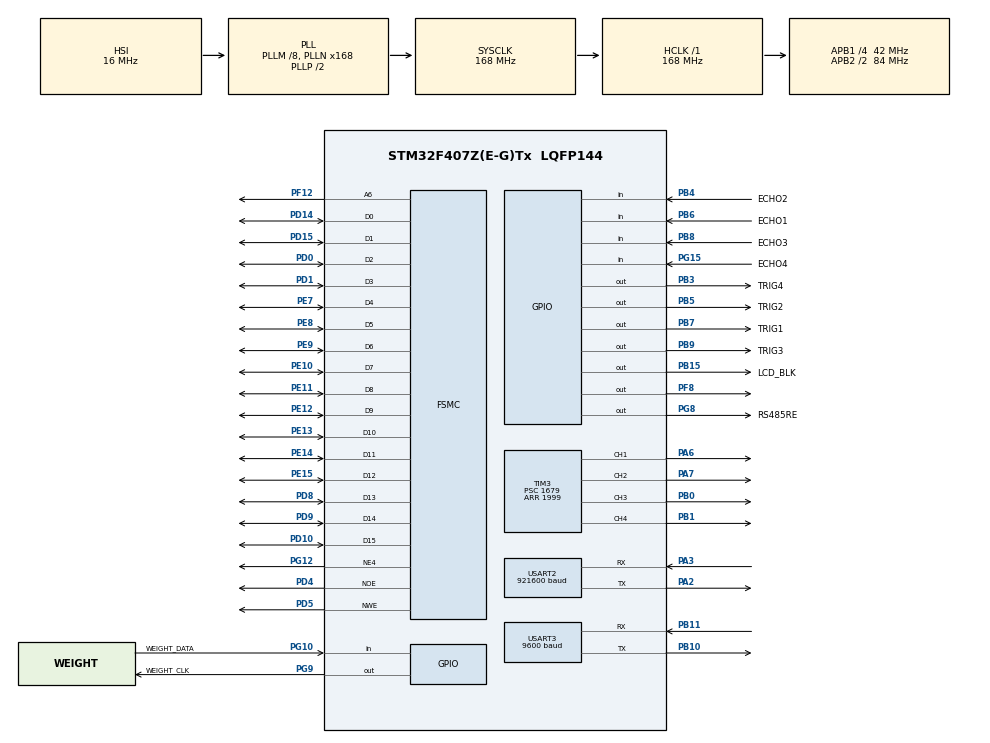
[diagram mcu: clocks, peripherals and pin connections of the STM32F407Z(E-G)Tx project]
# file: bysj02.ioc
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FREERTOS.Tasks01=defaultTask,8,128,StartDefaultTask,Default,NULL,Dynamic,NULL,NULL;lvglT,11,6144,StartlvglTask,As weak,NULL,Static,lvglBuffer,lvglControlBlock;floorRunT,45,512,StartFloorRunTask,As weak,NULL,Dynamic,NULL,NULL;distanceT,48,1024,StartDistanceTask,As weak,NULL,Dynamic,NULL,NULL;updatelvglT,9,1024,StartUpdatelvglTask,As weak,NULL,Dynamic,NULL,NULL;armRunT,13,512,StartArmRunTask,As weak,NULL,Dynamic,NULL,NULL;weight,12,128,GetWeightTask,As weak,NULL,Dynamic,NULL,NULL
FREERTOS.Timers01=floorRunTimer,floorRunTimerCallback,osTimerOnce,As weak,NULL,Dynamic,NULL;floorTimer,floorTimerCallback,osTimerPeriodic,As weak,NULL,Dynamic,NULL
FREERTOS.configENABLE_FPU=1
FREERTOS.configTOTAL_HEAP_SIZE=40960
FREERTOS.configUSE_NEWLIB_REENTRANT=1
FREERTOS.configUSE_PREEMPTION=1
FREERTOS.configUSE_TICK_HOOK=1
FSMC.AddressSetupTime1=0x0f
FSMC.BusTurnAroundDuration1=0
FSMC.DataSetupTime1=60
FSMC.ExtendedAddressSetupTime1=9
FSMC.ExtendedBusTurnAroundDuration1=0
FSMC.ExtendedDataSetupTime1=9
FSMC.ExtendedMode1=FSMC_EXTENDED_MODE_ENABLE
Mcu.Family=STM32F4
Mcu.Name=STM32F407Z(E-G)Tx
Mcu.Package=LQFP144
NVIC.PriorityGroup=NVIC_PRIORITYGROUP_4
NVIC.TIM1_BRK_TIM9_IRQn=true\:5\:0\:false\:false\:true\:true\:true\:true\:true
NVIC.TIM8_TRG_COM_TIM14_IRQn=true\:15\:0\:false\:false\:true\:false\:false\:true\:true
NVIC.TimeBase=TIM8_TRG_COM_TIM14_IRQn
NVIC.TimeBaseIP=TIM14
NVIC.USART2_IRQn=true\:5\:0\:false\:false\:true\:true\:true\:true\:true
NVIC.USART3_IRQn=true\:5\:0\:true\:false\:true\:true\:true\:true\:true
PA13.Mode=Serial_Wire
PA13.Signal=SYS_JTMS-SWDIO
PA14.Mode=Serial_Wire
PA14.Signal=SYS_JTCK-SWCLK
PA2.Mode=Asynchronous
PA2.Signal=USART2_TX
PA3.Mode=Asynchronous
PA3.Signal=USART2_RX
PA6.Signal=S_TIM3_CH1
PA7.Signal=S_TIM3_CH2
PB0.Signal=S_TIM3_CH3
PB1.Signal=S_TIM3_CH4
PB10.Mode=Asynchronous
PB10.Signal=USART3_TX
PB11.Mode=Asynchronous
PB11.Signal=USART3_RX
PB15.GPIO_Label=LCD_BLK
PB15.GPIO_PuPd=GPIO_PULLDOWN
PB15.Signal=GPIO_Output
PB3.GPIO_Label=TRIG4
PB3.Signal=GPIO_Output
PB4.GPIO_Label=ECHO2
PB4.Signal=GPIO_Input
PB5.GPIO_Label=TRIG2
PB5.Signal=GPIO_Output
PB6.GPIO_Label=ECHO1
PB6.GPIO_PuPd=GPIO_NOPULL
PB6.Signal=GPIO_Input
PB7.GPIO_Label=TRIG1
PB7.GPIO_PuPd=GPIO_NOPULL
PB7.PinState=GPIO_PIN_RESET
PB7.Signal=GPIO_Output
PB8.GPIO_Label=ECHO3
PB8.Signal=GPIO_Input
PB9.GPIO_Label=TRIG3
PB9.Signal=GPIO_Output
PC14-OSC32_IN.Mode=LSE-External-Oscillator
PC14-OSC32_IN.Signal=RCC_OSC32_IN
PC15-OSC32_OUT.Mode=LSE-External-Oscillator
PC15-OSC32_OUT.Signal=RCC_OSC32_OUT
PD0.Signal=FSMC_D2_DA2
PD1.Signal=FSMC_D3_DA3
PD10.Signal=FSMC_D15_DA15
PD14.Signal=FSMC_D0_DA0
PD15.Signal=FSMC_D1_DA1
PD4.Signal=FSMC_NOE
PD5.Signal=FSMC_NWE
PD8.Signal=FSMC_D13_DA13
PD9.Signal=FSMC_D14_DA14
PE10.Signal=FSMC_D7_DA7
PE11.Signal=FSMC_D8_DA8
PE12.Signal=FSMC_D9_DA9
PE13.Signal=FSMC_D10_DA10
PE14.Signal=FSMC_D11_DA11
PE15.Signal=FSMC_D12_DA12
PE7.Signal=FSMC_D4_DA4
PE8.Signal=FSMC_D5_DA5
PE9.Signal=FSMC_D6_DA6
PF12.Signal=FSMC_A6
PF8.Signal=GPIO_Output
PG10.GPIO_Label=WEIGHT_DATA
PG10.GPIO_PuPd=GPIO_PULLUP
PG10.Signal=GPIO_Input
PG12.Mode=NorPsramChipSelect4_1
PG12.Signal=FSMC_NE4
PG15.GPIO_Label=ECHO4
PG15.Signal=GPIO_Input
PG8.GPIO_Label=RS485RE
PG8.Signal=GPIO_Output
PG9.GPIO_Label=WEIGHT_CLK
PG9.GPIO_Speed=GPIO_SPEED_FREQ_HIGH
PG9.PinState=GPIO_PIN_SET
PG9.Signal=GPIO_Output
PH0-OSC_IN.Mode=HSE-External-Oscillator
PH0-OSC_IN.Signal=RCC_OSC_IN
PH1-OSC_OUT.Mode=HSE-External-Oscillator
PH1-OSC_OUT.Signal=RCC_OSC_OUT
ProjectManager.HeapSize=0x200
ProjectManager.StackSize=0x400
ProjectManager.TargetToolchain=STM32CubeIDE
RCC.48MHZClocksFreq_Value=84000000
RCC.AHBFreq_Value=168000000
RCC.APB1CLKDivider=RCC_HCLK_DIV4
RCC.APB1Freq_Value=42000000
RCC.APB1TimFreq_Value=84000000
RCC.APB2CLKDivider=RCC_HCLK_DIV2
RCC.APB2Freq_Value=84000000
RCC.APB2TimFreq_Value=168000000
RCC.CortexFreq_Value=168000000
RCC.HCLKFreq_Value=168000000
RCC.HSE_VALUE=8000000
RCC.HSI_VALUE=16000000
RCC.PLLM=8
RCC.PLLN=168
RCC.SYSCLKFreq_VALUE=168000000
RCC.SYSCLKSource=RCC_SYSCLKSOURCE_PLLCLK
RCC.VCOOutputFreq_Value=336000000
SH.FSMC_A6.0=FSMC_A6,A6_1
SH.FSMC_D0_DA0.0=FSMC_D0,16b-d1
SH.FSMC_D10_DA10.0=FSMC_D10,16b-d1
SH.FSMC_D11_DA11.0=FSMC_D11,16b-d1
SH.FSMC_D12_DA12.0=FSMC_D12,16b-d1
SH.FSMC_D13_DA13.0=FSMC_D13,16b-d1
SH.FSMC_D14_DA14.0=FSMC_D14,16b-d1
SH.FSMC_D15_DA15.0=FSMC_D15,16b-d1
SH.FSMC_D1_DA1.0=FSMC_D1,16b-d1
SH.FSMC_D2_DA2.0=FSMC_D2,16b-d1
SH.FSMC_D3_DA3.0=FSMC_D3,16b-d1
SH.FSMC_D4_DA4.0=FSMC_D4,16b-d1
SH.FSMC_D5_DA5.0=FSMC_D5,16b-d1
SH.FSMC_D6_DA6.0=FSMC_D6,16b-d1
SH.FSMC_D7_DA7.0=FSMC_D7,16b-d1
SH.FSMC_D8_DA8.0=FSMC_D8,16b-d1
SH.FSMC_D9_DA9.0=FSMC_D9,16b-d1
SH.FSMC_NOE.0=FSMC_NOE,Lcd1
SH.FSMC_NWE.0=FSMC_NWE,Lcd1
SH.S_TIM3_CH1.0=TIM3_CH1,PWM Generation1 CH1
SH.S_TIM3_CH2.0=TIM3_CH2,PWM Generation2 CH2
SH.S_TIM3_CH3.0=TIM3_CH3,PWM Generation3 CH3
SH.S_TIM3_CH4.0=TIM3_CH4,PWM Generation4 CH4
TIM3.AutoReloadPreload=TIM_AUTORELOAD_PRELOAD_ENABLE
TIM3.Channel-PWM\ Generation1\ CH1=TIM_CHANNEL_1
TIM3.Channel-PWM\ Generation2\ CH2=TIM_CHANNEL_2
TIM3.Channel-PWM\ Generation3\ CH3=TIM_CHANNEL_3
TIM3.Channel-PWM\ Generation4\ CH4=TIM_CHANNEL_4
TIM3.Period=1999
TIM3.Prescaler=1679
TIM3.Pulse-PWM\ Generation1\ CH1=0
TIM3.Pulse-PWM\ Generation2\ CH2=0
TIM3.Pulse-PWM\ Generation3\ CH3=0
TIM3.Pulse-PWM\ Generation4\ CH4=0
TIM9.Prescaler=167
USART2.BaudRate=921600
USART2.Mode=MODE_TX_RX
USART2.VirtualMode=VM_ASYNC
USART2.WordLength=WORDLENGTH_8B
USART3.BaudRate=9600
USART3.Mode=MODE_TX_RX
USART3.VirtualMode=VM_ASYNC
VP_FREERTOS_VS_CMSIS_V2.Mode=CMSIS_V2
VP_SYS_VS_tim14.Mode=TIM14
VP_TIM3_VS_ClockSourceINT.Mode=Internal
VP_TIM9_VS_ClockSourceINT.Mode=Internal
board=custom

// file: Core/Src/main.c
/* USER CODE BEGIN Header */
/**
  ******************************************************************************
  * @file           : main.c
  * @brief          : Main program body
  ******************************************************************************
  * @attention
  *
  * Copyright (c) 2024 STMicroelectronics.
  * All rights reserved.
  *
  * This software is licensed under terms that can be found in the LICENSE file
  * in the root directory of this software component.
  * If no LICENSE file comes with this software, it is provided AS-IS.
  *
  ******************************************************************************
  */
/* USER CODE END Header */
#include "main.h"
#include "cmsis_os.h"
#include "tim.h"
#include "usart.h"
#include "gpio.h"
#include "fsmc.h"

/* USER CODE BEGIN Includes */
#include "motor_run.h"
#include "lvgl.h"
#include "porting/lv_port_disp.h"
#include "ui.h"
#include "heiytTask.h"
#include "arm_active.h"
/* USER CODE END Includes */

/* USER CODE BEGIN PV */
#define RECEIVE_SIZE 8
uint8_t receive_buff[RECEIVE_SIZE];
int16_t arm_x_buff = 45, arm_y_buff = 45, arm_z_buff = 80;
/* USER CODE END PV */

void SystemClock_Config(void);
void MX_FREERTOS_Init(void);

/* USER CODE BEGIN 0 */
void HAL_UART_RxCpltCallback(UART_HandleTypeDef *huart) {
    if (huart == &huart3) {
        if (receive_buff[0] == 0x01) {
            Wx = (int16_t)(receive_buff[1]<<8 | receive_buff[2]);
            Wy = (int16_t)(receive_buff[3]<<8 | receive_buff[4]);
            run = 1;
        }
        if (receive_buff[0] == 0x02) {
            angle = (int16_t)(receive_buff[1]<<8 | receive_buff[2]);
            speed_A = (int16_t)(receive_buff[3]<<8 | receive_buff[4]);
            run = 2;
        }
        if (receive_buff[0] == 0x03) {
            fx = receive_buff[2];
            speed_M = (int16_t) (receive_buff[3] << 8 | receive_buff[4]);
            run = 3;
        }
        if (receive_buff[0] == 0x04) {
            run = 4;
        }
        if (receive_buff[0] == 0x05) {
            run = 4;
            if (receive_buff[1] == 0) {
                arm_x_buff = arm_x_buff + (int16_t)receive_buff[2];
            }
            if (receive_buff[1] == 1) {
                arm_x_buff = arm_x_buff - receive_buff[2];
            }
            if (receive_buff[3] == 0) {
                arm_y_buff = arm_y_buff + receive_buff[4];
            }
            if (receive_buff[3] == 1) {
                arm_y_buff = arm_y_buff - receive_buff[4];
            }
            if (receive_buff[5] == 0) {
                arm_z_buff = arm_z_buff + receive_buff[6];
            }
            if (receive_buff[5] == 1) {
                arm_z_buff = arm_z_buff - receive_buff[6];
            }
            if (receive_buff[7] == 0x04) {
                gj4_angle = 68;
            }
            if (receive_buff[7] == 0x05) {
                gj4_angle = 80;
            }
            if (arm_x_buff > 200) {
                arm_x_buff = 200;
            }
            if (arm_x_buff < -200) {
                arm_x_buff = -200;
            }
            if (arm_y_buff > 200) {
                arm_y_buff = 200;
            }
            if (arm_y_buff < -200) {
                arm_y_buff = -200;
            }
        }
        if (receive_buff[0] == 0x06) {
            arm_x_buff = (int16_t) (receive_buff[1] << 8 | receive_buff[2]);
            arm_y_buff = (int16_t) (receive_buff[3] << 8 | receive_buff[4]);
            arm_z_buff = (int16_t) (receive_buff[5] << 8 | receive_buff[6]);
        }
        if (receive_buff[0] == 0x07) {
            gj4_angle = (uint16_t) (receive_buff[1] << 8 | receive_buff[2]);
        }
        if (receive_buff[0] == 0x08) {
            celiang = true;
        }
    }
    HAL_UART_Receive_IT(&huart3,receive_buff,RECEIVE_SIZE);
}
/* USER CODE END 0 */

int main(void)
{

  /* MCU Configuration--------------------------------------------------------*/

  /* Reset of all peripherals, Initializes the Flash interface and the Systick. */
  HAL_Init();

  /* Configure the system clock */
  SystemClock_Config();

  /* Initialize all configured peripherals */
  MX_GPIO_Init();
  MX_USART2_UART_Init();
  MX_FSMC_Init();
  MX_USART3_UART_Init();
  MX_TIM3_Init();
  MX_TIM9_Init();
  /* USER CODE BEGIN 2 */
    roboArm_Init();
    // TIM3 robot arm
    HAL_TIM_PWM_Start(&htim3, TIM_CHANNEL_1);
    HAL_TIM_PWM_Start(&htim3, TIM_CHANNEL_2);
    HAL_TIM_PWM_Start(&htim3, TIM_CHANNEL_3);
    HAL_TIM_PWM_Start(&htim3, TIM_CHANNEL_4);
    // TIM9 robot cgq
    HAL_TIM_Base_Start_IT(&htim9);
    // floor
    HAL_UART_Receive_IT(&huart3, receive_buff, RECEIVE_SIZE);
    HAL_GPIO_WritePin(RS485RE_GPIO_Port, RS485RE_Pin, GPIO_PIN_SET);
    // UI
    lv_init();
    lv_port_disp_init();
    ui_init();
  /* USER CODE END 2 */

  /* Init scheduler */
  osKernelInitialize();

  /* Call init function for freertos objects (in cmsis_os2.c) */
  MX_FREERTOS_Init();

  /* Start scheduler */
  osKernelStart();

  /* We should never get here as control is now taken by the scheduler */

  /* Infinite loop */
  while (1)
  {

  }
}

void SystemClock_Config(void)
{
  RCC_OscInitTypeDef RCC_OscInitStruct = {0};
  RCC_ClkInitTypeDef RCC_ClkInitStruct = {0};

  /** Configure the main internal regulator output voltage
  */
  __HAL_RCC_PWR_CLK_ENABLE();
  __HAL_PWR_VOLTAGESCALING_CONFIG(PWR_REGULATOR_VOLTAGE_SCALE1);

  /** Initializes the RCC Oscillators according to the specified parameters
  * in the RCC_OscInitTypeDef structure.
  */
  RCC_OscInitStruct.OscillatorType = RCC_OSCILLATORTYPE_HSI;
  RCC_OscInitStruct.HSIState = RCC_HSI_ON;
  RCC_OscInitStruct.HSICalibrationValue = RCC_HSICALIBRATION_DEFAULT;
  RCC_OscInitStruct.PLL.PLLState = RCC_PLL_ON;
  RCC_OscInitStruct.PLL.PLLSource = RCC_PLLSOURCE_HSI;
  RCC_OscInitStruct.PLL.PLLM = 8;
  RCC_OscInitStruct.PLL.PLLN = 168;
  RCC_OscInitStruct.PLL.PLLP = RCC_PLLP_DIV2;
  RCC_OscInitStruct.PLL.PLLQ = 4;
  if (HAL_RCC_OscConfig(&RCC_OscInitStruct) != HAL_OK)
  {
    Error_Handler();
  }

  /** Initializes the CPU, AHB and APB buses clocks
  */
  RCC_ClkInitStruct.ClockType = RCC_CLOCKTYPE_HCLK|RCC_CLOCKTYPE_SYSCLK
                              |RCC_CLOCKTYPE_PCLK1|RCC_CLOCKTYPE_PCLK2;
  RCC_ClkInitStruct.SYSCLKSource = RCC_SYSCLKSOURCE_PLLCLK;
  RCC_ClkInitStruct.AHBCLKDivider = RCC_SYSCLK_DIV1;
  RCC_ClkInitStruct.APB1CLKDivider = RCC_HCLK_DIV4;
  RCC_ClkInitStruct.APB2CLKDivider = RCC_HCLK_DIV2;

  if (HAL_RCC_ClockConfig(&RCC_ClkInitStruct, FLASH_LATENCY_5) != HAL_OK)
  {
    Error_Handler();
  }
}

void HAL_TIM_PeriodElapsedCallback(TIM_HandleTypeDef *htim)
{
  if (htim->Instance == TIM14) {
    HAL_IncTick();
  }
}

void Error_Handler(void)
{
  /* USER CODE BEGIN Error_Handler_Debug */
  /* User can add his own implementation to report the HAL error return state */
//  __disable_irq();
//  while (1)
//  {
//  }
  /* USER CODE END Error_Handler_Debug */
}

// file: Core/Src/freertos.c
/* USER CODE BEGIN Header */
/**
  ******************************************************************************
  * File Name          : freertos.c
  * Description        : Code for freertos applications
  ******************************************************************************
  * @attention
  *
  * Copyright (c) 2024 STMicroelectronics.
  * All rights reserved.
  *
  * This software is licensed under terms that can be found in the LICENSE file
  * in the root directory of this software component.
  * If no LICENSE file comes with this software, it is provided AS-IS.
  *
  ******************************************************************************
  */
/* USER CODE END Header */

#include "FreeRTOS.h"
#include "task.h"
#include "main.h"
#include "cmsis_os.h"

/* USER CODE BEGIN Includes */
#include "src/hal/lv_hal_tick.h"
/* USER CODE END Includes */

typedef StaticTask_t osStaticThreadDef_t;

/* Definitions for defaultTask */
osThreadId_t defaultTaskHandle;
const osThreadAttr_t defaultTask_attributes = {
  .name = "defaultTask",
  .stack_size = 128 * 4,
  .priority = (osPriority_t) osPriorityLow,
};
/* Definitions for lvglT */
osThreadId_t lvglTHandle;
uint32_t lvglBuffer[ 6144 ];
osStaticThreadDef_t lvglControlBlock;
const osThreadAttr_t lvglT_attributes = {
  .name = "lvglT",
  .cb_mem = &lvglControlBlock,
  .cb_size = sizeof(lvglControlBlock),
  .stack_mem = &lvglBuffer[0],
  .stack_size = sizeof(lvglBuffer),
  .priority = (osPriority_t) osPriorityLow3,
};
/* Definitions for floorRunT */
osThreadId_t floorRunTHandle;
const osThreadAttr_t floorRunT_attributes = {
  .name = "floorRunT",
  .stack_size = 512 * 4,
  .priority = (osPriority_t) osPriorityHigh5,
};
/* Definitions for distanceT */
osThreadId_t distanceTHandle;
const osThreadAttr_t distanceT_attributes = {
  .name = "distanceT",
  .stack_size = 1024 * 4,
  .priority = (osPriority_t) osPriorityRealtime,
};
/* Definitions for updatelvglT */
osThreadId_t updatelvglTHandle;
const osThreadAttr_t updatelvglT_attributes = {
  .name = "updatelvglT",
  .stack_size = 1024 * 4,
  .priority = (osPriority_t) osPriorityLow1,
};
/* Definitions for armRunT */
osThreadId_t armRunTHandle;
const osThreadAttr_t armRunT_attributes = {
  .name = "armRunT",
  .stack_size = 512 * 4,
  .priority = (osPriority_t) osPriorityLow5,
};
/* Definitions for weight */
osThreadId_t weightHandle;
const osThreadAttr_t weight_attributes = {
  .name = "weight",
  .stack_size = 128 * 4,
  .priority = (osPriority_t) osPriorityLow4,
};
/* Definitions for floorRunTimer */
osTimerId_t floorRunTimerHandle;
const osTimerAttr_t floorRunTimer_attributes = {
  .name = "floorRunTimer"
};
/* Definitions for floorTimer */
osTimerId_t floorTimerHandle;
const osTimerAttr_t floorTimer_attributes = {
  .name = "floorTimer"
};

void StartDefaultTask(void *argument);
void StartlvglTask(void *argument);
void StartFloorRunTask(void *argument);
void StartDistanceTask(void *argument);
void StartUpdatelvglTask(void *argument);
void StartArmRunTask(void *argument);
void GetWeightTask(void *argument);
void floorRunTimerCallback(void *argument);
void floorTimerCallback(void *argument);

void MX_FREERTOS_Init(void); /* (MISRA C 2004 rule 8.1) */

/* Hook prototypes */
void vApplicationTickHook(void);

/* USER CODE BEGIN 3 */
void vApplicationTickHook( void )
{
   /* This function will be called by each tick interrupt if
   configUSE_TICK_HOOK is set to 1 in FreeRTOSConfig.h. User code can be
   added here, but the tick hook is called from an interrupt context, so
   code must not attempt to block, and only the interrupt safe FreeRTOS API
   functions can be used (those that end in FromISR()). */
    lv_tick_inc(1);
}
/* USER CODE END 3 */

void MX_FREERTOS_Init(void) {

  /* Create the timer(s) */
  /* creation of floorRunTimer */
  floorRunTimerHandle = osTimerNew(floorRunTimerCallback, osTimerOnce, NULL, &floorRunTimer_attributes);

  /* creation of floorTimer */
  floorTimerHandle = osTimerNew(floorTimerCallback, osTimerPeriodic, NULL, &floorTimer_attributes);

  /* Create the thread(s) */
  /* creation of defaultTask */
  defaultTaskHandle = osThreadNew(StartDefaultTask, NULL, &defaultTask_attributes);

  /* creation of lvglT */
  lvglTHandle = osThreadNew(StartlvglTask, NULL, &lvglT_attributes);

  /* creation of floorRunT */
  floorRunTHandle = osThreadNew(StartFloorRunTask, NULL, &floorRunT_attributes);

  /* creation of distanceT */
  distanceTHandle = osThreadNew(StartDistanceTask, NULL, &distanceT_attributes);

  /* creation of updatelvglT */
  updatelvglTHandle = osThreadNew(StartUpdatelvglTask, NULL, &updatelvglT_attributes);

  /* creation of armRunT */
  armRunTHandle = osThreadNew(StartArmRunTask, NULL, &armRunT_attributes);

  /* creation of weight */
  weightHandle = osThreadNew(GetWeightTask, NULL, &weight_attributes);

  /* USER CODE BEGIN RTOS_THREADS */
  /* add threads, ... */
    osTimerStart(floorTimerHandle, pdMS_TO_TICKS(20));
  /* USER CODE END RTOS_THREADS */

}

void StartDefaultTask(void *argument)
{
  for(;;)
  {
      osDelay(1);
  }
}

__weak void StartlvglTask(void *argument)
{
  for(;;)
  {
    osDelay(1);
  }
}

__weak void StartFloorRunTask(void *argument)
{
  for(;;)
  {
    osDelay(1);
  }
}

__weak void StartDistanceTask(void *argument)
{
  for(;;)
  {
    osDelay(1);
  }
}

__weak void StartUpdatelvglTask(void *argument)
{
  for(;;)
  {
    osDelay(1);
  }
}

__weak void StartArmRunTask(void *argument)
{
  for(;;)
  {
    osDelay(1);
  }
}

__weak void GetWeightTask(void *argument)
{
  for(;;)
  {
    osDelay(1);
  }
}

/* floorRunTimerCallback function */
__weak void floorRunTimerCallback(void *argument)
{
}

/* floorTimerCallback function */
__weak void floorTimerCallback(void *argument)
{
}
